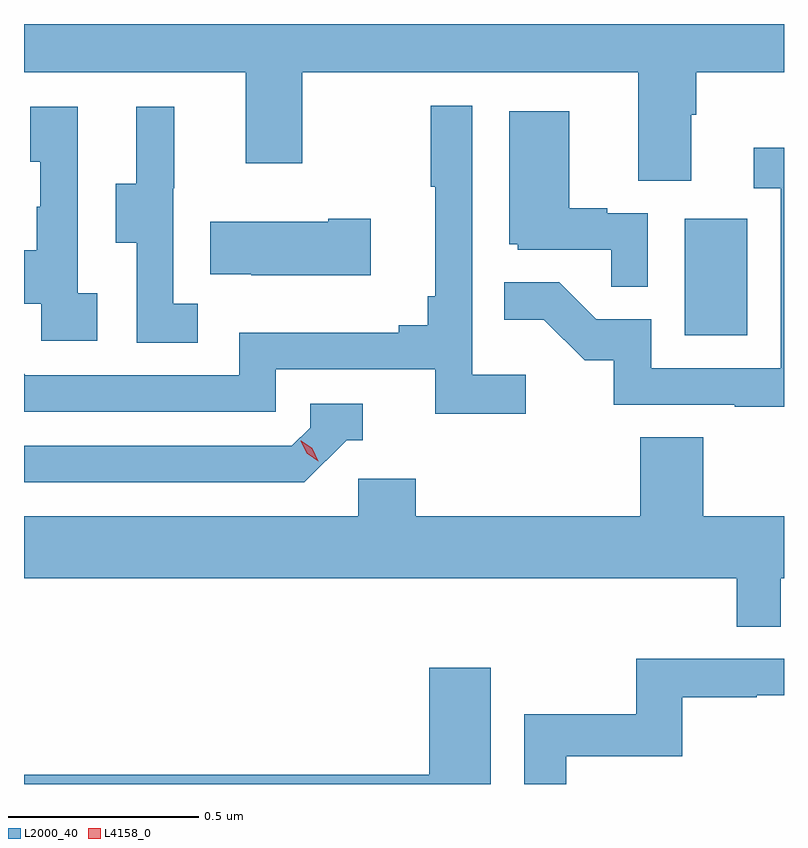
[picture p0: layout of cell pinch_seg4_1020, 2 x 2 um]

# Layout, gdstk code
import gdstk
lib = gdstk.Library(unit=1e-6, precision=1e-09)
def R(c, l, rs):  # rectangles x0, y0, x1, y1
    for r in rs: c.add(gdstk.rectangle(r[:2], r[2:], *l))
def P(c, l, *ps):  # polygons
    for p in ps: c.add(gdstk.Polygon(p, *l))
L2000_40 = (2000, 40)
L4158_0 = (4158, 0)

pinch_seg4_1020 = lib.new_cell('pinch_seg4_1020')
R(pinch_seg4_1020, L2000_40, [(818.93,776.148,819.094,776.455)])
P(pinch_seg4_1020, L2000_40, [(818.947,776.728),(818.96,776.728),(818.96,776.84),(819.191,776.84),(819.191,776.967),(817.191,776.967),(817.191,776.84),(817.775,776.84),(817.775,776.601),(817.923,776.601),(817.923,776.84),(818.807,776.84),(818.807,776.554),(818.947,776.554)],
  [(818.512,776.044),(818.37,776.044),(818.37,776.752),(818.262,776.752),(818.262,776.539),(818.273,776.539),(818.273,776.251),(818.254,776.251),(818.254,776.174),(818.177,776.174),(818.177,776.155),(817.758,776.155),(817.758,776.043),(817.194,776.043),(817.191,776.046),(817.191,775.947),(817.854,775.947),(817.854,776.058),(818.273,776.058),(818.273,775.942),(818.512,775.942)],
  [(817.648,776.231),(817.584,776.231),(817.584,776.535),(817.586,776.535),(817.586,776.749),(817.487,776.749),(817.487,776.547),(817.433,776.547),(817.433,776.392),(817.488,776.392),(817.488,776.128),(817.648,776.128)],
  [(817.384,776.258),(817.332,776.258),(817.332,776.749),(817.208,776.749),(817.208,776.604),(817.234,776.604),(817.234,776.486),(817.224,776.486),(817.224,776.371),(817.191,776.371),(817.191,776.231),(817.236,776.231),(817.236,776.133),(817.384,776.133)],
  [(818.832,776.469),(818.726,776.469),(818.726,776.482),(818.626,776.482),(818.626,776.737),(818.468,776.737),(818.468,776.388),(818.49,776.388),(818.49,776.373),(818.737,776.373),(818.737,776.275),(818.832,776.275)],
  [(819.191,776.641),(819.111,776.641),(819.111,776.535),(819.183,776.535),(819.183,776.061),(818.841,776.061),(818.841,776.19),(818.697,776.19),(818.599,776.288),(818.455,776.288),(818.455,776.189),(818.559,776.189),(818.666,776.082),(818.743,776.082),(818.743,775.965),(819.061,775.965),(819.061,775.96),(819.191,775.96)],
  [(818.104,776.454),(817.991,776.454),(817.991,776.446),(817.681,776.446),(817.681,776.309),(817.789,776.309),(817.789,776.306),(818.104,776.306)],
  [(818.04,775.872),(818.083,775.872),(818.083,775.968),(817.944,775.968),(817.944,775.905),(817.896,775.857),(817.191,775.857),(817.191,775.761),(817.929,775.761)],
  [(819.183,775.508),(819.191,775.508),(819.191,775.672),(818.978,775.672),(818.978,775.88),(818.813,775.88),(818.813,775.672),(818.222,775.672),(818.222,775.77),(818.07,775.77),(818.07,775.672),(817.191,775.672),(817.191,775.508),(819.067,775.508),(819.067,775.381),(819.183,775.381)],
  [(818.618,775.04),(818.923,775.04),(818.923,775.195),(819.119,775.195),(819.119,775.2),(819.191,775.2),(819.191,775.296),(818.802,775.296),(818.802,775.15),(818.508,775.15),(818.508,774.967),(818.618,774.967)],
  [(818.419,775.273),(818.258,775.273),(818.258,774.992),(817.191,774.992),(817.191,774.967),(818.419,774.967)])
P(pinch_seg4_1020, L4158_0, [(817.965,775.817),(817.935,775.837),(817.919,775.87),(817.919,775.87),(817.92,775.87),(817.95,775.85),(817.965,775.817),(817.965,775.817)])

lib.write_gds('pinch_seg4_1020.gds')
